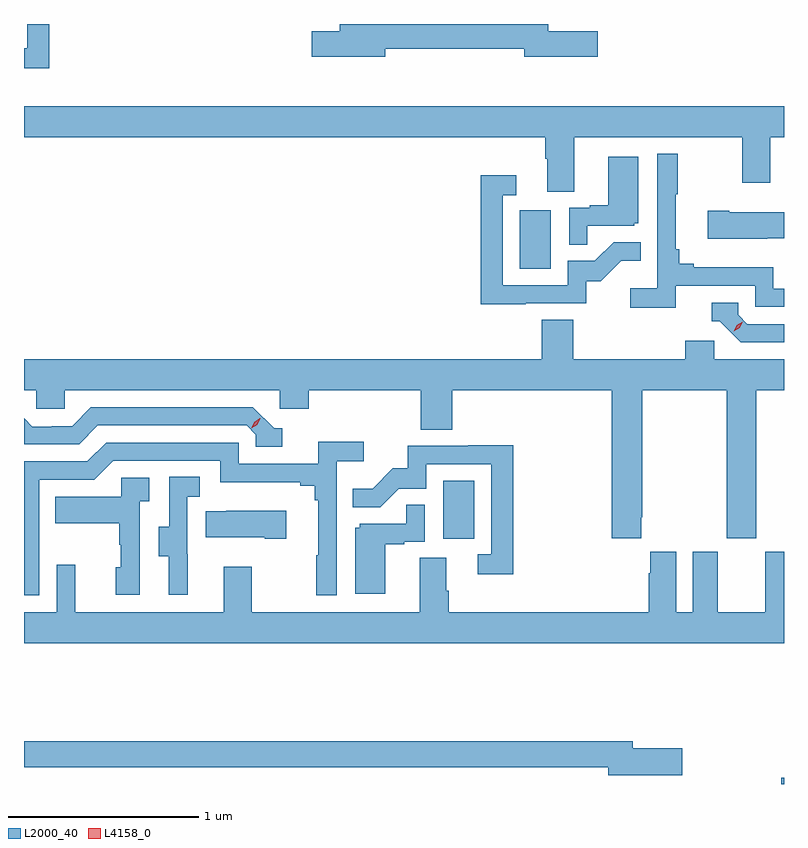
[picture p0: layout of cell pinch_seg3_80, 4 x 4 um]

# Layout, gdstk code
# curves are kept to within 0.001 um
import gdstk
lib = gdstk.Library(unit=1e-6, precision=1e-09)
def R(c, l, rs):  # rectangles x0, y0, x1, y1
    for r in rs: c.add(gdstk.rectangle(r[:2], r[2:], *l))
def P(c, l, *ps):  # polygons
    for p in ps: c.add(gdstk.Polygon(p, *l))
L2000_40 = (2000, 40)
L4158_0 = (4158, 0)

pinch_seg3_80 = lib.new_cell('pinch_seg3_80')
R(pinch_seg3_80, L2000_40, [(1035.605,720.156,1035.62,720.19), (1033.826,721.446,1033.99,721.753), (1034.228,722.868,1034.392,723.175)])
P(pinch_seg3_80, L2000_40, [(1031.753,724.156),(1031.637,724.156),(1031.637,724.029),(1031.62,724.029),(1031.62,723.924),(1031.753,723.924)],
  [(1033.522,724.026),(1034.252,724.026),(1034.252,723.983),(1034.641,723.983),(1034.641,724.118),(1034.38,724.118),(1034.38,724.154),(1033.283,724.154),(1033.283,724.118),(1033.134,724.118),(1033.134,723.983),(1033.522,723.983)],
  [(1034.515,723.56),(1035.4,723.56),(1035.4,723.321),(1035.547,723.321),(1035.547,723.56),(1035.62,723.56),(1035.62,723.724),(1031.62,723.724),(1031.62,723.56),(1034.363,723.56),(1034.363,723.448),(1034.375,723.448),(1034.375,723.274),(1034.515,723.274)],
  [(1035.05,722.778),(1035.468,722.778),(1035.468,722.667),(1035.62,722.667),(1035.62,722.763),(1035.564,722.763),(1035.564,722.875),(1035.145,722.875),(1035.145,722.894),(1035.068,722.894),(1035.068,722.971),(1035.049,722.971),(1035.049,723.259),(1035.061,723.259),(1035.061,723.472),(1034.952,723.472),(1034.952,722.764),(1034.811,722.764),(1034.811,722.662),(1035.05,722.662)],
  [(1034.585,723.093),(1034.832,723.093),(1034.832,723.108),(1034.854,723.108),(1034.854,723.457),(1034.696,723.457),(1034.696,723.202),(1034.597,723.202),(1034.597,723.189),(1034.49,723.189),(1034.49,722.995),(1034.585,722.995)],
  [(1034.261,722.685),(1034.58,722.685),(1034.58,722.802),(1034.656,722.802),(1034.763,722.909),(1034.867,722.909),(1034.867,723.008),(1034.723,723.008),(1034.625,722.91),(1034.481,722.91),(1034.481,722.781),(1034.139,722.781),(1034.139,723.255),(1034.212,723.255),(1034.212,723.361),(1034.023,723.361),(1034.023,722.68),(1034.261,722.68)],
  [(1035.533,723.029),(1035.62,723.029),(1035.62,723.166),(1035.331,723.166),(1035.331,723.174),(1035.219,723.174),(1035.219,723.026),(1035.533,723.026)],
  [(1035.62,722.577),(1035.426,722.577),(1035.378,722.625),(1035.378,722.688),(1035.239,722.688),(1035.239,722.592),(1035.282,722.592),(1035.393,722.481),(1035.62,722.481)],
  [(1034.869,721.561),(1034.874,721.561),(1034.874,722.228),(1035.319,722.228),(1035.319,721.449),(1035.474,721.449),(1035.474,722.228),(1035.62,722.228),(1035.62,722.392),(1035.252,722.392),(1035.252,722.49),(1035.101,722.49),(1035.101,722.392),(1034.51,722.392),(1034.51,722.6),(1034.345,722.6),(1034.345,722.392),(1031.62,722.392),(1031.62,722.228),(1031.685,722.228),(1031.685,722.13),(1031.835,722.13),(1031.835,722.228),(1032.966,722.228),(1032.966,722.13),(1033.118,722.13),(1033.118,722.228),(1033.709,722.228),(1033.709,722.02),(1033.874,722.02),(1033.874,722.228),(1034.714,722.228),(1034.714,721.449),(1034.869,721.449)],
  [(1032.979,722.028),(1032.936,722.028),(1032.825,722.139),(1031.972,722.139),(1031.873,722.04),(1031.766,722.04),(1031.766,722.037),(1031.663,722.037),(1031.62,722.08),(1031.62,721.945),(1031.91,721.944),(1032.009,722.043),(1032.792,722.043),(1032.84,721.995),(1032.84,721.932),(1032.979,721.932)],
  [(1031.7,721.758),(1031.991,721.758),(1032.09,721.857),(1032.654,721.857),(1032.654,721.745),(1033.073,721.745),(1033.073,721.726),(1033.15,721.726),(1033.15,721.649),(1033.169,721.649),(1033.169,721.361),(1033.158,721.361),(1033.158,721.149),(1033.266,721.149),(1033.266,721.856),(1033.408,721.856),(1033.408,721.958),(1033.169,721.958),(1033.169,721.842),(1032.75,721.842),(1032.75,721.953),(1032.053,721.953),(1031.954,721.854),(1031.62,721.854),(1031.62,721.149),(1031.7,721.149)],
  [(1034.195,721.94),(1033.957,721.94),(1033.957,721.935),(1033.639,721.935),(1033.639,721.818),(1033.562,721.818),(1033.455,721.711),(1033.351,721.711),(1033.351,721.612),(1033.495,721.612),(1033.593,721.71),(1033.737,721.71),(1033.737,721.839),(1034.079,721.839),(1034.079,721.365),(1034.007,721.365),(1034.007,721.26),(1034.195,721.26)],
  [(1032.482,721.365),(1032.48,721.365),(1032.48,721.669),(1032.544,721.669),(1032.544,721.772),(1032.384,721.772),(1032.384,721.509),(1032.329,721.509),(1032.329,721.354),(1032.383,721.354),(1032.383,721.152),(1032.482,721.152)],
  [(1032.228,721.643),(1032.28,721.643),(1032.28,721.767),(1032.132,721.767),(1032.132,721.669),(1031.785,721.669),(1031.785,721.529),(1032.12,721.529),(1032.12,721.415),(1032.13,721.415),(1032.13,721.296),(1032.104,721.296),(1032.104,721.152),(1032.228,721.152)],
  [(1033.522,721.419),(1033.622,721.419),(1033.622,721.431),(1033.728,721.431),(1033.728,721.625),(1033.633,721.625),(1033.633,721.527),(1033.386,721.527),(1033.386,721.506),(1033.364,721.506),(1033.364,721.158),(1033.522,721.158)],
  [(1033,721.594),(1032.685,721.594),(1032.685,721.591),(1032.577,721.591),(1032.577,721.454),(1032.887,721.454),(1032.887,721.447),(1033,721.447)],
  [(1035.62,721.378),(1035.521,721.378),(1035.521,721.06),(1035.271,721.06),(1035.271,721.378),(1035.14,721.378),(1035.14,721.06),(1035.052,721.06),(1035.052,721.378),(1034.915,721.378),(1034.915,721.265),(1034.909,721.265),(1034.909,721.06),(1033.856,721.06),(1033.856,721.172),(1033.843,721.172),(1033.843,721.346),(1033.703,721.346),(1033.703,721.06),(1032.819,721.06),(1032.819,721.3),(1032.671,721.3),(1032.671,721.06),(1031.891,721.06),(1031.891,721.309),(1031.793,721.309),(1031.793,721.06),(1031.62,721.06),(1031.62,720.896),(1035.62,720.896)],
  [(1035.085,720.344),(1034.824,720.344),(1034.824,720.38),(1031.62,720.38),(1031.62,720.244),(1034.696,720.244),(1034.696,720.202),(1035.085,720.202)])
P(pinch_seg3_80, L4158_0, [(1032.816,722.028),(1032.816,722.029),(1032.832,722.061),(1032.862,722.081),(1032.863,722.081),(1032.863,722.081),(1032.847,722.048),(1032.817,722.028)],
  [(1035.356,722.538),(1035.356,722.538),(1035.372,722.57),(1035.403,722.589),(1035.404,722.589),(1035.404,722.589),(1035.387,722.557),(1035.356,722.538)])

lib.write_gds('pinch_seg3_80.gds')
